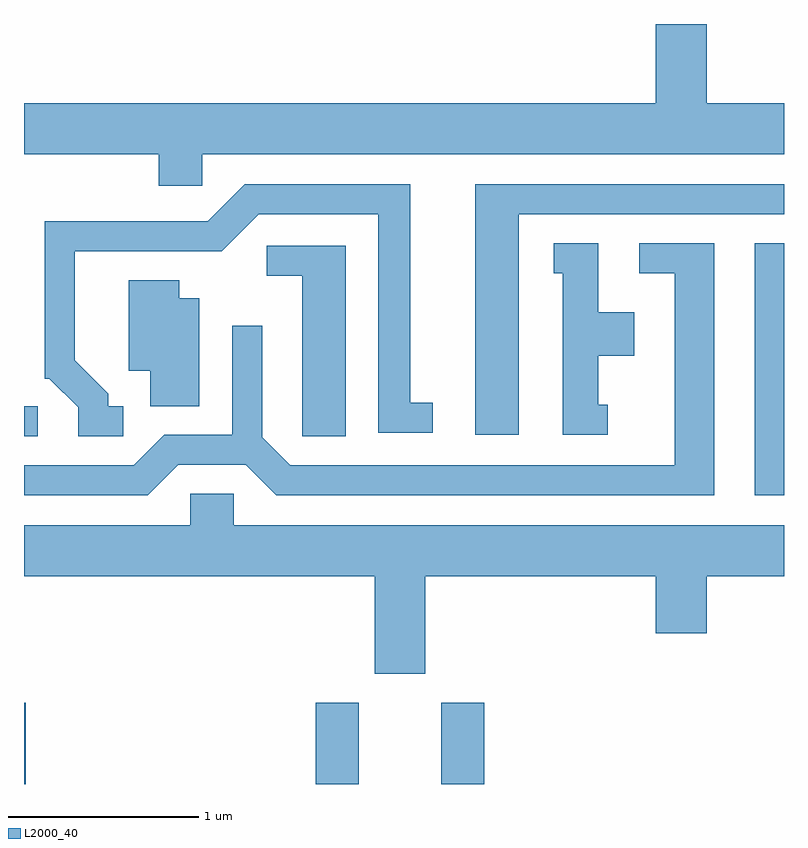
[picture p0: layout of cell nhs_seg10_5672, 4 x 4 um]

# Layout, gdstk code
import gdstk
lib = gdstk.Library(unit=1e-6, precision=1e-09)
def R(c, l, rs):  # rectangles x0, y0, x1, y1
    for r in rs: c.add(gdstk.rectangle(r[:2], r[2:], *l))
def P(c, l, *ps):  # polygons
    for p in ps: c.add(gdstk.Polygon(p, *l))
L2000_40 = (2000, 40)

nhs_seg10_5672 = lib.new_cell('nhs_seg10_5672')
R(nhs_seg10_5672, L2000_40, [(351.611,2190.522,351.619,2190.949), (353.146,2190.522,353.374,2190.949), (353.806,2190.522,354.034,2190.949), (355.456,2192.041,355.611,2193.369), (351.611,2192.351,351.683,2192.509)])
P(nhs_seg10_5672, L2000_40, [(352.549,2193.836),(355.611,2193.836),(355.611,2194.104),(355.204,2194.104),(355.204,2194.522),(354.936,2194.522),(354.936,2194.104),(351.611,2194.104),(351.611,2193.836),(352.321,2193.836),(352.321,2193.671),(352.549,2193.671)],
  [(352.133,2192.509),(352.054,2192.509),(352.054,2192.577),(351.879,2192.752),(351.879,2193.326),(352.652,2193.326),(352.847,2193.521),(353.476,2193.521),(353.476,2192.371),(353.763,2192.371),(353.763,2192.529),(353.644,2192.529),(353.644,2193.679),(352.774,2193.679),(352.579,2193.484),(351.721,2193.484),(351.721,2192.656),(351.744,2192.656),(351.896,2192.504),(351.896,2192.351),(352.133,2192.351)],
  [(354.214,2193.521),(355.611,2193.521),(355.611,2193.679),(353.986,2193.679),(353.986,2192.361),(354.214,2192.361)],
  [(352.422,2192.201),(352.779,2192.201),(352.939,2192.041),(355.244,2192.041),(355.244,2193.369),(354.848,2193.369),(354.848,2193.211),(355.036,2193.211),(355.036,2192.199),(353.012,2192.199),(352.864,2192.347),(352.864,2192.933),(352.706,2192.933),(352.706,2192.359),(352.349,2192.359),(352.189,2192.199),(351.611,2192.199),(351.611,2192.041),(352.262,2192.041)],
  [(354.683,2192.519),(354.634,2192.519),(354.634,2192.776),(354.824,2192.776),(354.824,2193.004),(354.634,2193.004),(354.634,2193.369),(354.398,2193.369),(354.398,2193.211),(354.446,2193.211),(354.446,2192.361),(354.683,2192.361)],
  [(353.304,2193.354),(352.888,2193.354),(352.888,2193.196),(353.076,2193.196),(353.076,2192.351),(353.304,2192.351)],
  [(352.534,2193.079),(352.429,2193.079),(352.429,2193.174),(352.161,2193.174),(352.161,2192.696),(352.276,2192.696),(352.276,2192.511),(352.534,2192.511)],
  [(353.724,2191.616),(354.936,2191.616),(354.936,2191.316),(355.204,2191.316),(355.204,2191.616),(355.611,2191.616),(355.611,2191.884),(352.714,2191.884),(352.714,2192.049),(352.486,2192.049),(352.486,2191.884),(351.611,2191.884),(351.611,2191.616),(353.456,2191.616),(353.456,2191.101),(353.724,2191.101)])

lib.write_gds('nhs_seg10_5672.gds')
